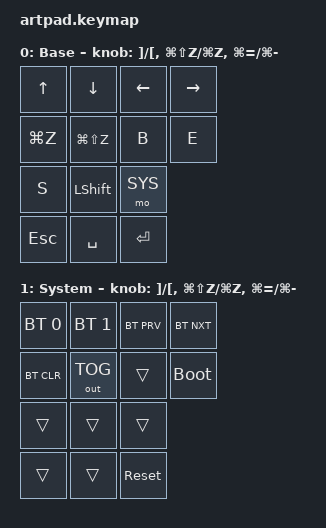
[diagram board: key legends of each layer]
// ArtPad default keymap. The copy in config/artpad.keymap overrides this one;
// this file is what new users of the shield start from.
//
// Starter bindings for testing with Procreate on iPad; change freely.
// Binding order matches the matrix transform in artpad.overlay:
//   row 0: D-pad up, down, left, right
//   row 1: B1 B2 B3 B4
//   row 2: B5 B6 B7
//   row 3: knob click, dial click, scroll click
// sensor-bindings order matches the sensors node: knob, dial, scroll.
// For &inc_dec_kp the first key is clockwise, the second counter-clockwise.

#include <behaviors.dtsi>
#include <dt-bindings/zmk/keys.h>
#include <dt-bindings/zmk/bt.h>
#include <dt-bindings/zmk/outputs.h>

#define BASE 0
#define SYS  1

/ {
    keymap {
        compatible = "zmk,keymap";

        base_layer {
            display-name = "Base";
            bindings = <
                &kp UP       &kp DOWN         &kp LEFT  &kp RIGHT
                &kp LG(Z)    &kp LG(LS(Z))    &kp B     &kp E
                &kp S        &kp LSHFT        &mo SYS
                &kp ESC      &kp SPACE        &kp RET
            >;
            sensor-bindings = <
                &inc_dec_kp RBKT LBKT              // knob: brush size bigger / smaller
                &inc_dec_kp LG(LS(Z)) LG(Z)        // dial: redo / undo
                &inc_dec_kp LG(EQUAL) LG(MINUS)    // scroll: zoom in / out
            >;
        };

        // Hold B7 to reach this layer: Bluetooth profiles, USB/BLE toggle,
        // and the bootloader (so you don't need to short RST to GND to flash).
        sys_layer {
            display-name = "System";
            bindings = <
                &bt BT_SEL 0   &bt BT_SEL 1     &bt BT_PRV   &bt BT_NXT
                &bt BT_CLR     &out OUT_TOG     &trans       &bootloader
                &trans         &trans           &trans
                &trans         &trans           &sys_reset
            >;
            sensor-bindings = <
                &inc_dec_kp RBKT LBKT
                &inc_dec_kp LG(LS(Z)) LG(Z)
                &inc_dec_kp LG(EQUAL) LG(MINUS)
            >;
        };
    };
};
